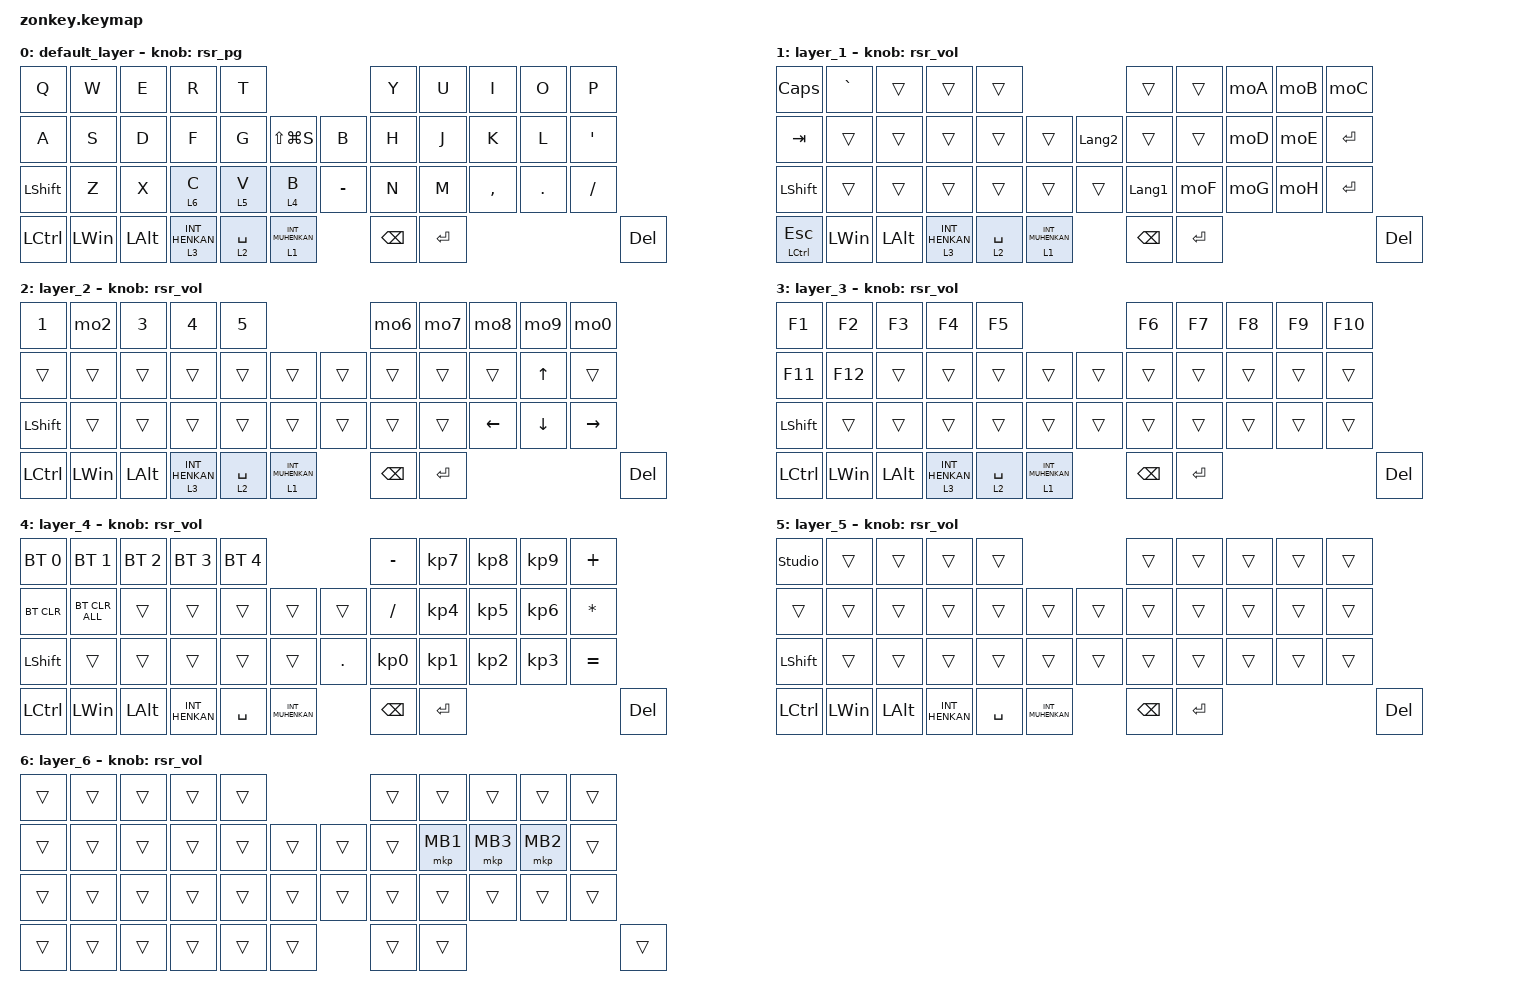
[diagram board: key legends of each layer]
#include <input/processors.dtsi>
#include <input/processors/runtime-input-processor.dtsi>
#include <behaviors/runtime-sensor-rotate.dtsi>
#include <behaviors/battery_history_request.dtsi>
#include <behaviors.dtsi>
#include <dt-bindings/zmk/bt.h>
#include <dt-bindings/zmk/keys.h>
#include <dt-bindings/zmk/pointing.h>

#define ZMK_POINTING_DEFAULT_SCRL_VAL 100
#define MOUSE 6
#define JP_DQUOTE       AT                // "
#define JP_AMPERSAND    CARET             // &
#define JP_QUOTE        AMPERSAND         // '
#define JP_EQUAL        UNDER             // =
#define JP_CARET        EQUAL             // ^
#define JP_YEN          0x89              // ¥
#define JP_PLUS         COLON             // +
#define JP_TILDE        PLUS              // ~
#define JP_PIPE         LS(0x89)          // |
#define JP_AT           LEFT_BRACKET      // @
#define JP_COLON        SINGLE_QUOTE      // :
#define JP_ASTERISK     DOUBLE_QUOTES     // *
#define JP_BACKQUOTE    LEFT_BRACE        // `
#define JP_UNDERSCORE   LS(0x87)          // _
#define JP_LBRACKET     RIGHT_BRACKET     // [
#define JP_RBRACKET     BACKSLASH         // ]
#define JP_LPAREN       ASTERISK          // (
#define JP_RPAREN       LEFT_PARENTHESIS  // )
#define JP_LBRACE       RIGHT_BRACE       // {
#define JP_RBRACE       PIPE              // }
#define JP_KANA         LANGUAGE_1        // かな
#define JP_EISU         LANGUAGE_2        // 英数
#define JP_HANZEN       GRAVE             // 半角/全角
#define JP_BSLH  INT1         // (backslash)

&mt {
    flavor = "balanced";
    quick-tap-ms = <0>;
};

/ {
    combos { compatible = "zmk,combos"; };

    // DYA Studio から編集できるコンボの既定値（zmk-feature-runtime-combo）。
    // 焼いた直後から有効で、settings を消しても復元される。
    // ランタイムで書き換えた枠はそちらが優先され、Web UI の
    // "Reset to Default" でここの値に戻せる。
    // キー位置: 0=Q 1=W / 10=A ... 18=J 19=K
    runtime_combo_defaults {
        compatible = "cormoran,runtime-combo-defaults";

        combo_esc_qw {
            key-positions = <0 1>;      // Q + W
            bindings = <&kp ESC>;
            display-name = "Esc (QW)";
        };

        combo_esc_jk {
            key-positions = <18 19>;    // J + K
            bindings = <&kp ESC>;
            display-name = "Esc (JK)";
        };
    };

    mo2: mo2 {
        compatible = "zmk,behavior-mod-morph";
        #binding-cells = <0>;
        bindings = <&kp N2>, <&kp AT>;

        mods = <(MOD_LSFT|MOD_RSFT)>;
    };

    mo6: mo6 {
        compatible = "zmk,behavior-mod-morph";
        #binding-cells = <0>;
        bindings = <&kp N6>, <&kp CARET>;

        mods = <(MOD_LSFT|MOD_RSFT)>;
    };

    mo7: mo7 {
        compatible = "zmk,behavior-mod-morph";
        #binding-cells = <0>;
        bindings = <&kp N7>, <&kp AMPS>;

        mods = <(MOD_LSFT|MOD_RSFT)>;
    };

    mo8: mo8 {
        compatible = "zmk,behavior-mod-morph";
        #binding-cells = <0>;
        bindings = <&kp N8>, <&kp ASTRK>;

        mods = <(MOD_LSFT|MOD_RSFT)>;
    };

    mo9: mo9 {
        compatible = "zmk,behavior-mod-morph";
        #binding-cells = <0>;
        bindings = <&kp N9>, <&kp LPAR>;

        mods = <(MOD_LSFT|MOD_RSFT)>;
    };

    mo0: mo0 {
        compatible = "zmk,behavior-mod-morph";
        #binding-cells = <0>;
        bindings = <&kp N0>, <&kp LS(N9)>;

        mods = <(MOD_LSFT|MOD_RSFT)>;
    };

    moA: moA {
        compatible = "zmk,behavior-mod-morph";
        #binding-cells = <0>;
        bindings = <&kp MINUS>, <&kp UNDERSCORE>;

        mods = <(MOD_LSFT|MOD_RSFT)>;
    };

    moB: moB {
        compatible = "zmk,behavior-mod-morph";
        #binding-cells = <0>;
        bindings = <&kp EQUAL>, <&kp PLUS>;

        mods = <(MOD_LSFT|MOD_RSFT)>;
    };

    moC: moC {
        compatible = "zmk,behavior-mod-morph";
        #binding-cells = <0>;
        bindings = <&kp INT3>, <&kp JP_PIPE>;

        mods = <(MOD_LSFT|MOD_RSFT)>;
    };

    moD: moD {
        compatible = "zmk,behavior-mod-morph";
        #binding-cells = <0>;
        bindings = <&kp LBKT>, <&kp LBRC>;

        mods = <(MOD_LSFT|MOD_RSFT)>;
    };

    moE: moE {
        compatible = "zmk,behavior-mod-morph";
        #binding-cells = <0>;
        bindings = <&kp RBKT>, <&kp RBRC>;

        mods = <(MOD_LSFT|MOD_RSFT)>;
    };

    moF: moF {
        compatible = "zmk,behavior-mod-morph";
        #binding-cells = <0>;
        bindings = <&kp SEMI>, <&kp KP_PLUS>;

        mods = <(MOD_LSFT|MOD_RSFT)>;
    };

    moG: moG {
        compatible = "zmk,behavior-mod-morph";
        #binding-cells = <0>;
        bindings = <&kp APOSTROPHE>, <&kp DQT>;

        mods = <(MOD_LSFT|MOD_RSFT)>;
    };

    moH: moH {
        compatible = "zmk,behavior-mod-morph";
        #binding-cells = <0>;
        bindings = <&kp BACKSLASH>, <&kp TILDE2>;

        mods = <(MOD_LSFT|MOD_RSFT)>;
    };

    moI: moI {
        compatible = "zmk,behavior-mod-morph";
        #binding-cells = <0>;
        bindings = <&kp JP_BSLH>, <&kp JP_UNDERSCORE>;

        mods = <(MOD_LSFT|MOD_RSFT)>;
    };

    macros {
        to_layer_0: to_layer_0 {
            compatible = "zmk,behavior-macro-one-param";
            #binding-cells = <1>;
            bindings = <&to 0 &macro_param_1to1 &kp MACRO_PLACEHOLDER>;
            label = "TO_LAYER_0";
        };
    };

    behaviors {

        rsr_vol: rsr_vol {
        compatible = "zmk,behavior-runtime-sensor-rotate";
        #sensor-binding-cells = <0>;
        tap-ms = <20>;
        cw-binding = <&kp C_VOL_DN>;
        ccw-binding = <&kp C_VOL_UP>;
    };

    rsr_pg: rsr_pg {
        compatible = "zmk,behavior-runtime-sensor-rotate";
        #sensor-binding-cells = <0>;
        tap-ms = <20>;
        cw-binding = <&kp PG_UP>;
        ccw-binding = <&kp PAGE_DOWN>;
    };

     lt_to_layer_0: lt_to_layer_0 {
            compatible = "zmk,behavior-hold-tap";
            label = "LAYER_TAP_TO_0";
            bindings = <&mo>, <&to_layer_0>;

            #binding-cells = <2>;
            tapping-term-ms = <200>;
        };

        scroll_up_down: behavior_sensor_rotate_mouse_wheel_up_down {
            compatible = "zmk,behavior-sensor-rotate";
            #sensor-binding-cells = <0>;
            bindings = <&msc SCRL_DOWN>, <&msc SCRL_UP>;

            tap-ms = <20>;
        };
    };

    keymap {
        compatible = "zmk,keymap";

        default_layer {
            // -----------------------------------------------------------------------------------------
            // |  Q  |  W  |  E  |  R  |  T  |                        |  Y  |  U   |  I  |  O  |  P  | 
            // |  A  |  S  |  D  |  F  |  G  |LS(LG(S))|        　 | - |  H  |  J   |  K  |  L  |  `  | 
            // |SHIFT|  Z  |  X  |  C  |  V  |  B  |           | B |  N  |  M   |  ,  |  .  |  /  | 
            // | CTRL | WIN | ALT |HENKAN|SPACE|MUHENKAN|       | BS | ENT |      　　　　       | DEL |           

            bindings = <
&kp Q           &kp W         &kp E         &kp R             &kp T                                         &kp Y          &kp U      &kp I      &kp O    &kp P
&kp A           &kp S         &kp D         &kp F             &kp G        &kp LS(LG(S))         &kp B      &kp H          &kp J      &kp K      &kp L    &kp SQT
&kp LEFT_SHIFT  &kp Z         &kp X         &lt 6 C           &lt 5 V      &lt 4 B               &kp MINUS  &kp N          &kp M      &kp COMMA  &kp DOT  &kp SLASH
&kp LCTRL       &kp LEFT_WIN  &kp LEFT_ALT  &lt 3 INT_HENKAN  &lt 2 SPACE  &lt 1 INT_MUHENKAN               &kp BACKSPACE  &kp ENTER                                 &kp DEL
            >;

            sensor-bindings = <&rsr_pg>;
        };

        layer_1 {
            // -----------------------------------------------------------------------------------------
            // |CAPS　| 　　|     |     |                    　　　　　　 |     |     |  -  |  ^  |  ¥  |
            // | TAB |     |     |     |     |     |              |    |     |     |     |  @  |  [  |
            // |SHIFT|     |     |     |     |     |           　 | 英数 | かな |    |  ; |  :  |  ]  |
            // | CTRL| WIN | ALT |HENKAN|SPACE|MUHENKAN|         | BS | ENT |                   | DEL |

            bindings = <
&kp CAPSLOCK    &kp GRAVE     &trans        &trans            &trans                                          &trans         &trans     &moA  &moB  &moC
&kp TAB         &trans        &trans        &trans            &trans       &trans                &kp JP_EISU  &trans         &trans     &moD  &moE  &kp ENTER
&kp LEFT_SHIFT  &trans        &trans        &trans            &trans       &trans                &trans       &kp JP_KANA    &moF       &moG  &moH  &kp ENTER
&mt LCTL ESC    &kp LEFT_WIN  &kp LEFT_ALT  &lt 3 INT_HENKAN  &lt 2 SPACE  &lt 1 INT_MUHENKAN                 &kp BACKSPACE  &kp ENTER                         &kp DEL
            >;

            sensor-bindings = <&rsr_vol>;
        };

        layer_2 {
            // -----------------------------------------------------------------------------------------
            // |  1  |  2  |  3  |  4  |  5  |                     |  6  |  7  |  8  |  9  |   0  |
            // |      |     |     |     |     |     |           |    |     |     |     |  ↑  |      |
            // |SHIFT|     |     |     |     |     |           |     |     |     |  ←  |  ↓  |  →  |
            // | CTRL| WIN | ALT |HENKAN|SPACE|MUHENKAN|         | BS | ENT |                   | DEL |

            bindings = <
&kp N1          &mo2          &kp N3        &kp N4            &kp N5                             &mo6    &mo7           &mo8       &mo9            &mo0
&trans          &trans        &trans        &trans            &trans       &trans                &trans  &trans         &trans     &trans          &kp UP_ARROW    &trans
&kp LEFT_SHIFT  &trans        &trans        &trans            &trans       &trans                &trans  &trans         &trans     &kp LEFT_ARROW  &kp DOWN_ARROW  &kp RIGHT_ARROW
&kp LCTRL       &kp LEFT_WIN  &kp LEFT_ALT  &lt 3 INT_HENKAN  &lt 2 SPACE  &lt 1 INT_MUHENKAN            &kp BACKSPACE  &kp ENTER                                                   &kp DEL
            >;

            sensor-bindings = <&rsr_vol>;
        };

        layer_3 {
            // -----------------------------------------------------------------------------------------
            // | F1  | F2  | F3  | F4  | F5  |                     | F6  | F7 | F8  | F9 | F10 |
            // | F11 | F12 |     |     |     |     |           |    |     |     |     |     |      |
            // |SHIFT|     |     |     |     |     |           |     |     |     |     |     |      |
            // | CTRL| WIN | ALT |HENKAN|SPACE|MUHENKAN|         | BS | ENT |                   | DEL |

            bindings = <
&kp F1          &kp F2        &kp F3        &kp F4            &kp F5                                     &kp F6         &kp F7     &kp F8  &kp F9  &kp F10
&kp F11         &kp F12       &trans        &trans            &trans       &trans                &trans  &trans         &trans     &trans  &trans  &trans
&kp LEFT_SHIFT  &trans        &trans        &trans            &trans       &trans                &trans  &trans         &trans     &trans  &trans  &trans
&kp LCTRL       &kp LEFT_WIN  &kp LEFT_ALT  &lt 3 INT_HENKAN  &lt 2 SPACE  &lt 1 INT_MUHENKAN            &kp BACKSPACE  &kp ENTER                           &kp DEL
            >;

            sensor-bindings = <&rsr_vol>;
        };

        layer_4 {
            // -----------------------------------------------------------------------------------------
            // | BT0 | BT1 | BT2 | BT3 | BT4 |                        |  -  |  7  |  8  |  9  |  +  |
            // |BTCLR |     |     |     |     |     |                 |  /  |  4  |  5  |  6  |  *  | 
            // |SHIFT|     |     |     |     |     |           |  .  |  0  |  1  |  2  |   3  |  =  |
            // | CTRL| WIN | ALT |HENKAN|SPACE|MUHENKAN|        | BS | ENT |                  | DEL |

            bindings = <
&bt BT_SEL 0    &bt BT_SEL 1    &bt BT_SEL 2  &bt BT_SEL 3    &bt BT_SEL 4                               &kp MINUS        &kp KP_NUMBER_7  &kp KP_NUMBER_8  &kp KP_NUMBER_9  &kp PLUS
&bt BT_CLR      &bt BT_CLR_ALL  &trans        &trans          &trans        &trans              &trans   &kp SLASH        &kp KP_NUMBER_4  &kp KP_NUMBER_5  &kp KP_NUMBER_6  &kp ASTERISK
&kp LEFT_SHIFT  &trans          &trans        &trans          &trans        &trans              &kp DOT  &kp KP_NUMBER_0  &kp KP_NUMBER_1  &kp KP_NUMBER_2  &kp KP_NUMBER_3  &kp EQUAL
&kp LCTRL       &kp LEFT_WIN    &kp LEFT_ALT  &kp INT_HENKAN  &kp SPACE     &kp INT_MUHENKAN             &kp BACKSPACE    &kp ENTER                                                        &kp DEL
            >;

            sensor-bindings = <&rsr_vol>;
        };

        layer_5 {
            // -----------------------------------------------------------------------------------------
            // |      |     |     |     |     |                     |     |     |     |     |      |
            // |      |     |     |     |     |     |           |    |     |     |     |     |      |
            // |SHIFT|     |     |     |     |     |          |     |     |     |     |     |      |
            // | CTRL| WIN | ALT |HENKAN|SPACE|MUHENKAN|        | BS | ENT |                  | DEL |

            bindings = <
&studio_unlock  &trans        &trans        &trans          &trans                                 &trans         &trans     &trans  &trans  &trans
&trans          &trans        &trans        &trans          &trans     &trans              &trans  &trans         &trans     &trans  &trans  &trans
&kp LEFT_SHIFT  &trans        &trans        &trans          &trans     &trans              &trans  &trans         &trans     &trans  &trans  &trans
&kp LCTRL       &kp LEFT_WIN  &kp LEFT_ALT  &kp INT_HENKAN  &kp SPACE  &kp INT_MUHENKAN            &kp BACKSPACE  &kp ENTER                          &kp DEL
            >;

            sensor-bindings = <&rsr_vol>;
        };

        layer_6 {
            bindings = <
&trans  &trans  &trans  &trans  &trans                    &trans  &trans    &trans    &trans    &trans
&trans  &trans  &trans  &trans  &trans  &trans    &trans  &trans  &mkp MB1  &mkp MB3  &mkp MB2  &trans
&trans  &trans  &trans  &trans  &trans  &trans    &trans  &trans  &trans    &trans    &trans    &trans
&trans  &trans  &trans  &trans  &trans  &trans            &trans  &trans                                &trans
            >;

            sensor-bindings = <&rsr_vol>;
        };
    };
};
